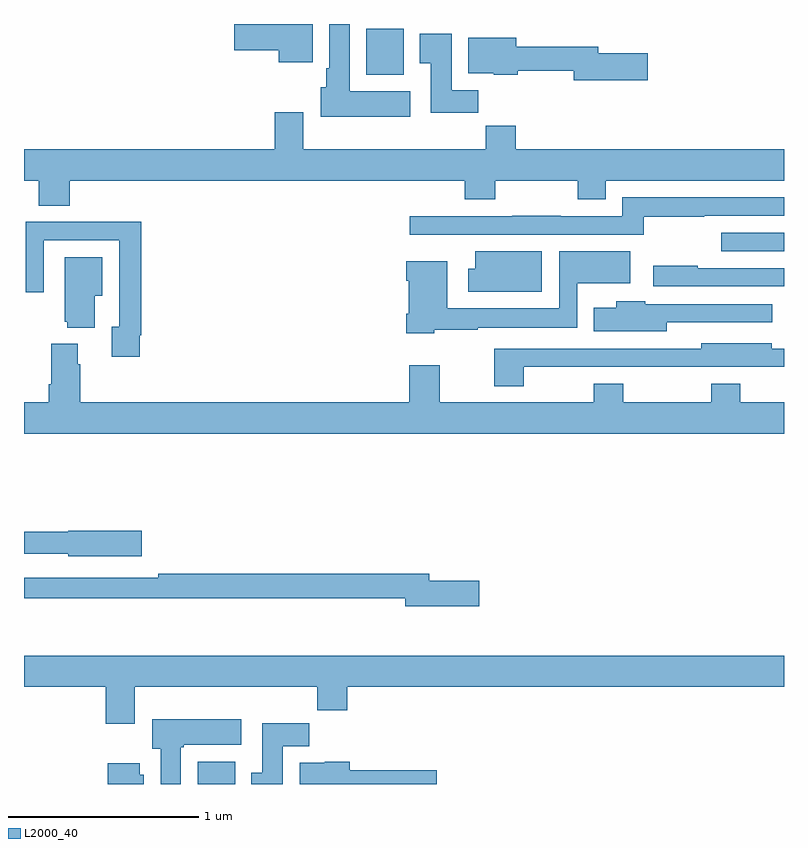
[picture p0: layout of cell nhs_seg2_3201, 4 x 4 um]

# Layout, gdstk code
import gdstk
lib = gdstk.Library(unit=1e-6, precision=1e-09)
def R(c, l, rs):  # rectangles x0, y0, x1, y1
    for r in rs: c.add(gdstk.rectangle(r[:2], r[2:], *l))
def P(c, l, *ps):  # polygons
    for p in ps: c.add(gdstk.Polygon(p, *l))
L2000_40 = (2000, 40)

nhs_seg2_3201 = lib.new_cell('nhs_seg2_3201')
R(nhs_seg2_3201, L2000_40, [(279.914,637.8,280.111,637.918), (282.669,640.605,283,640.701), (280.802,641.534,280.999,641.776)])
P(nhs_seg2_3201, L2000_40, [(281.032,641.446),(280.714,641.446),(280.714,641.8),(280.607,641.8),(280.607,641.566),(280.592,641.566),(280.592,641.466),(280.562,641.466),(280.562,641.312),(281.032,641.312)],
  [(280.519,641.8),(280.106,641.8),(280.106,641.663),(280.34,641.663),(280.34,641.6),(280.519,641.6)],
  [(281.39,641.452),(281.251,641.452),(281.251,641.749),(281.084,641.749),(281.084,641.593),(281.141,641.593),(281.141,641.334),(281.39,641.334)],
  [(282.283,641.645),(282.022,641.645),(282.022,641.681),(281.59,641.681),(281.59,641.728),(281.339,641.728),(281.339,641.54),(281.472,641.54),(281.472,641.534),(281.598,641.534),(281.598,641.553),(281.894,641.553),(281.894,641.503),(282.283,641.503)],
  [(279.242,640.976),(281.321,640.976),(281.321,640.877),(281.481,640.877),(281.481,640.976),(281.914,640.976),(281.914,640.877),(282.061,640.877),(282.061,640.976),(283,640.976),(283,641.14),(281.588,641.14),(281.588,641.264),(281.431,641.264),(281.431,641.14),(280.471,641.14),(280.471,641.335),(280.319,641.335),(280.319,641.14),(279,641.14),(279,640.976),(279.077,640.976),(279.077,640.843),(279.242,640.843)],
  [(281.279,640.692),(282.263,640.692),(282.263,640.786),(282.581,640.786),(282.581,640.791),(283,640.791),(283,640.887),(282.149,640.887),(282.149,640.788),(281.825,640.788),(281.825,640.79),(281.569,640.79),(281.569,640.788),(281.031,640.788),(281.031,640.691),(281.279,640.691)],
  [(279.61,640.162),(279.617,640.162),(279.617,640.76),(279.325,640.76),(279.325,640.758),(279.009,640.758),(279.009,640.389),(279.105,640.389),(279.105,640.662),(279.501,640.662),(279.501,640.206),(279.461,640.206),(279.461,640.05),(279.61,640.05)],
  [(281.725,640.603),(281.375,640.603),(281.375,640.513),(281.339,640.513),(281.339,640.391),(281.725,640.391)],
  [(281.159,640.192),(281.387,640.192),(281.387,640.202),(281.913,640.202),(281.913,640.436),(282.19,640.436),(282.19,640.603),(281.817,640.603),(281.817,640.303),(281.227,640.303),(281.227,640.552),(281.012,640.552),(281.012,640.448),(281.024,640.448),(281.024,640.276),(281.012,640.276),(281.012,640.172),(281.159,640.172)],
  [(279.373,640.37),(279.412,640.37),(279.412,640.573),(279.215,640.573),(279.215,640.233),(279.227,640.233),(279.227,640.202),(279.373,640.202)],
  [(283,640.515),(282.547,640.515),(282.547,640.528),(282.311,640.528),(282.311,640.419),(283,640.419)],
  [(282.382,640.23),(282.937,640.23),(282.937,640.326),(282.27,640.326),(282.27,640.341),(282.116,640.341),(282.116,640.306),(281.998,640.306),(281.998,640.184),(282.382,640.184)],
  [(281.631,639.995),(281.909,639.995),(281.909,639.996),(282.241,639.996),(282.241,639.995),(282.564,639.995),(282.564,639.996),(282.936,639.996),(282.936,639.995),(283,639.995),(283,640.092),(282.936,640.092),(282.936,640.12),(282.564,640.12),(282.564,640.092),(281.476,640.092),(281.476,639.894),(281.631,639.894)],
  [(283,639.808),(282.771,639.808),(282.771,639.907),(282.616,639.907),(282.616,639.808),(282.153,639.808),(282.153,639.907),(281.998,639.907),(281.998,639.808),(281.187,639.808),(281.187,640.003),(281.027,640.003),(281.027,639.808),(279.296,639.808),(279.296,640.01),(279.283,640.01),(279.283,640.117),(279.143,640.117),(279.143,639.904),(279.131,639.904),(279.131,639.808),(279,639.808),(279,639.644),(283,639.644)],
  [(279.619,639.134),(279.234,639.134),(279.234,639.128),(279,639.128),(279,639.012),(279.234,639.012),(279.234,638.999),(279.619,638.999)],
  [(281.395,638.87),(281.134,638.87),(281.134,638.906),(279.706,638.906),(279.706,638.886),(279,638.886),(279,638.778),(281.006,638.778),(281.006,638.735),(281.395,638.735)],
  [(279.583,638.312),(280.543,638.312),(280.543,638.188),(280.7,638.188),(280.7,638.312),(283,638.312),(283,638.476),(279,638.476),(279,638.312),(279.431,638.312),(279.431,638.118),(279.583,638.118)],
  [(279.826,637.993),(279.84,637.993),(279.84,638.006),(280.144,638.006),(280.144,638.14),(279.674,638.14),(279.674,637.986),(279.719,637.986),(279.719,637.8),(279.826,637.8)],
  [(280.363,638),(280.502,638),(280.502,638.119),(280.253,638.119),(280.253,637.86),(280.196,637.86),(280.196,637.8),(280.363,637.8)],
  [(281.173,637.872),(280.715,637.872),(280.715,637.918),(280.584,637.918),(280.584,637.912),(280.451,637.912),(280.451,637.8),(281.173,637.8)],
  [(279.631,637.848),(279.61,637.848),(279.61,637.909),(279.44,637.909),(279.44,637.8),(279.631,637.8)])

lib.write_gds('nhs_seg2_3201.gds')
